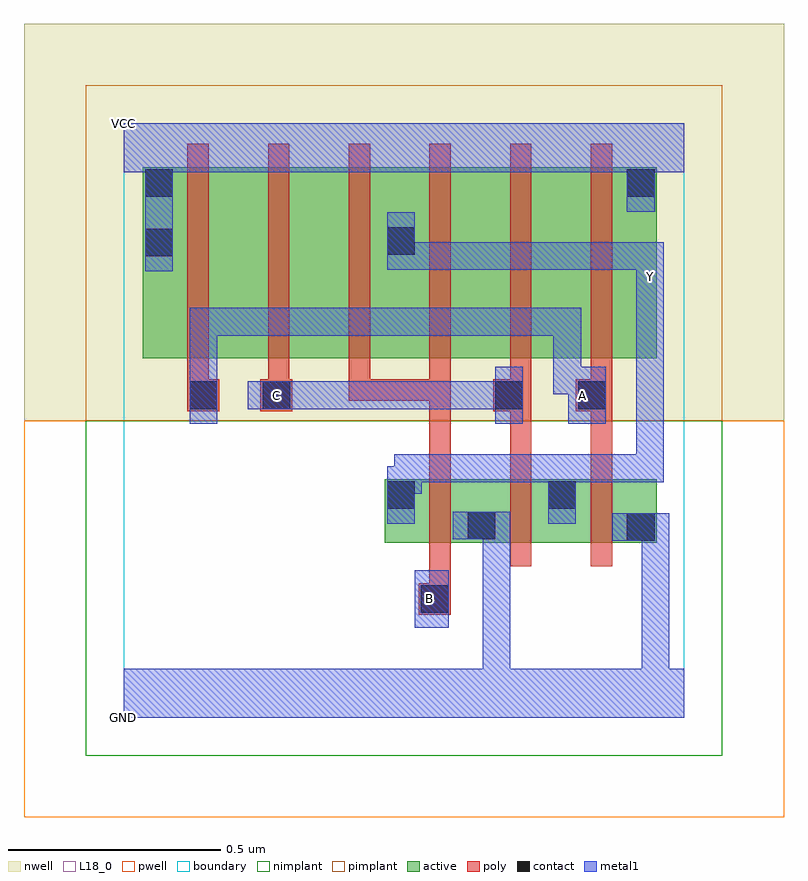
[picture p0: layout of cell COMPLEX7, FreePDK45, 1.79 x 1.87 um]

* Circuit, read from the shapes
.subckt COMPLEX7 A B C GND VCC Y
M1 GND B Y VSUBS nfet w=0.15u l=0.05u
M2 Y C GND VSUBS nfet w=0.15u l=0.05u
M3 GND A Y VSUBS nfet w=0.15u l=0.05u
M4 n1 A VCC n2 pfet w=0.45u l=0.05u
M5 n3 C n1 n2 pfet w=0.45u l=0.05u
M6 Y B n3 n2 pfet w=0.45u l=0.05u
M7 n4 B Y n2 pfet w=0.45u l=0.05u
M8 n5 C n4 n2 pfet w=0.45u l=0.05u
M9 VCC A n5 n2 pfet w=0.45u l=0.05u
.ends

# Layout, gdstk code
import gdstk
lib = gdstk.Library(unit=1e-6, precision=1e-09)
def R(c, l, rs):  # rectangles x0, y0, x1, y1
    for r in rs: c.add(gdstk.rectangle(r[:2], r[2:], *l))
def A(c, l, x, y, w, h, nx, ny, dx, dy):  # array of equal rectangles
    R(c, l, [(x+i*dx, y+j*dy, x+i*dx+w, y+j*dy+h) for i in range(nx) for j in range(ny)])
active = (1, 0)
pwell = (2, 0)
nwell = (3, 0)
nimplant = (4, 0)
pimplant = (5, 0)
poly = (9, 0)
contact = (10, 0)
metal1 = (11, 0)
L18_0 = (18, 0)
boundary = (235, 0)

complex7 = lib.new_cell('COMPLEX7')
R(complex7, active, [(0.615,0.412,0.69,0.562), (0.615,0.412,0.88,0.562), (0.805,0.412,1.07,0.562), (0.995,0.412,1.07,0.562), (0.995,0.412,1.255,0.562), (1.18,0.412,1.255,0.562), (0.805,0.415,0.88,0.547), (0.045,0.847,0.12,1.297), (0.045,0.847,0.27,1.297), (0.27,0.847,0.46,1.297), (0.46,0.847,0.69,1.297), (0.615,0.847,0.84,1.297), (0.615,0.847,0.69,1.2), (0.84,0.847,1.03,1.297), (1.03,0.847,1.255,1.297), (1.18,0.847,1.255,1.297)])
R(complex7, pwell, [(-0.235,-0.235,1.555,0.7)])
R(complex7, nwell, [(-0.235,0.7,1.555,1.635)])
R(complex7, nimplant, [(-0.09,-0.09,1.41,0.7)])
R(complex7, pimplant, [(-0.09,0.7,1.41,1.49)])
A(complex7, poly, 0.72, 0.357, 0.05, 0.26, 3, 1, 0.19, 0)
A(complex7, poly, 0.15, 0.747, 0.05, 0.095, 6, 1, 0.19, 0)
A(complex7, poly, 0.15, 0.792, 0.05, 0.56, 6, 1, 0.19, 0)
R(complex7, poly, [(0.695,0.242,0.77,0.317), (0.72,0.267,0.77,0.407), (0.72,0.567,0.77,0.797), (0.91,0.567,0.96,0.772), (1.1,0.567,1.15,0.772), (0.15,0.722,0.225,0.797), (0.322,0.722,0.397,0.797), (0.87,0.722,0.96,0.797), (1.065,0.722,1.15,0.797), (0.53,0.747,0.58,0.797), (0.53,0.747,0.77,0.797), (0.72,0.747,0.77,0.797), (0.72,0.747,0.77,0.797), (0.72,0.747,0.77,0.797)])
R(complex7, contact, [(0.7,0.247,0.765,0.312), (1.185,0.417,1.25,0.482), (0.81,0.42,0.875,0.485), (0.62,0.492,0.685,0.557), (1,0.492,1.065,0.557), (0.155,0.727,0.22,0.792), (0.327,0.727,0.392,0.792), (0.875,0.727,0.94,0.792), (1.07,0.727,1.135,0.792), (0.05,1.087,0.115,1.152), (0.62,1.09,0.685,1.155), (0.05,1.227,0.115,1.292), (1.185,1.227,1.25,1.292)])
R(complex7, metal1, [(0,0,1.32,0.115), (0.845,0.05,0.91,0.115), (0.845,0.05,0.91,0.115), (0.845,0.05,0.91,0.115), (0.845,0.05,0.91,0.115), (0.845,0.05,0.91,0.115), (0.845,0.05,0.91,0.115), (0.845,0.05,0.91,0.485), (1.22,0.05,1.285,0.115), (1.22,0.05,1.285,0.115), (1.22,0.05,1.285,0.115), (1.22,0.05,1.285,0.115), (1.22,0.05,1.285,0.482), (0.685,0.212,0.765,0.347), (1.15,0.417,1.285,0.482), (1.22,0.417,1.285,0.482), (1.22,0.417,1.285,0.482), (0.775,0.42,0.91,0.485), (0.62,0.457,0.685,0.592), (1,0.457,1.065,0.62), (0.62,0.527,0.702,0.592), (0.637,0.527,0.702,0.62), (0.637,0.555,0.822,0.62), (0.757,0.555,0.822,0.62), (0.757,0.555,0.902,0.62), (0.837,0.555,0.902,0.62), (0.837,0.555,1.065,0.62), (1,0.555,1.272,0.62), (1.207,0.555,1.272,0.62), (1.207,0.555,1.272,0.62), (1.207,0.555,1.272,0.62), (1.207,0.555,1.272,1.037), (0.155,0.692,0.22,0.827), (0.875,0.692,0.94,0.827), (1.047,0.692,1.135,0.827), (0.292,0.727,0.427,0.792), (0.362,0.727,0.427,0.792), (0.362,0.727,0.427,0.792), (0.362,0.727,0.565,0.792), (0.5,0.727,0.565,0.792), (0.5,0.727,0.565,0.792), (0.5,0.727,0.565,0.792), (0.5,0.727,0.702,0.792), (0.637,0.727,0.702,0.792), (0.637,0.727,0.822,0.792), (0.757,0.727,0.822,0.792), (0.757,0.727,0.94,0.792), (0.155,0.762,0.22,0.827), (0.155,0.762,0.22,0.827), (0.155,0.762,0.22,0.965), (1.012,0.762,1.077,0.827), (1.012,0.762,1.112,0.827), (1.012,0.762,1.077,0.965), (0.155,0.9,0.22,0.965), (0.155,0.9,0.427,0.965), (0.362,0.9,0.427,0.965), (0.362,0.9,0.427,0.965), (0.362,0.9,0.427,0.965), (0.362,0.9,0.565,0.965), (0.5,0.9,0.565,0.965), (0.5,0.9,0.565,0.965), (0.5,0.9,0.565,0.965), (0.5,0.9,0.755,0.965), (0.69,0.9,0.755,0.965), (0.69,0.9,0.822,0.965), (0.757,0.9,0.822,0.965), (0.757,0.9,0.975,0.965), (0.91,0.9,0.975,0.965), (0.91,0.9,1.077,0.965), (1.012,0.9,1.077,0.965), (1.207,0.972,1.272,1.107), (1.207,1.042,1.272,1.12), (1.207,1.042,1.272,1.107), (1.207,1.042,1.272,1.107), (0.05,1.052,0.115,1.327), (0.62,1.055,0.685,1.19), (0.62,1.055,0.702,1.12), (0.637,1.055,0.702,1.12), (0.637,1.055,0.837,1.12), (0.772,1.055,0.837,1.12), (0.772,1.055,0.975,1.12), (0.91,1.055,0.975,1.12), (0.91,1.055,0.975,1.12), (0.91,1.055,0.975,1.12), (0.91,1.055,1.215,1.12), (1.15,1.055,1.272,1.12), (1.15,1.055,1.215,1.12), (1.207,1.055,1.272,1.12), (1.185,1.192,1.25,1.327), (0.05,1.262,0.115,1.35), (1.185,1.262,1.25,1.35), (0,1.285,1.32,1.4)])
R(complex7, L18_0, [(0,0,1.32,0.115), (0.845,0.05,0.91,0.115), (0.845,0.05,0.91,0.115), (0.845,0.05,0.91,0.115), (0.845,0.05,0.91,0.115), (0.845,0.05,0.91,0.115), (0.845,0.05,0.91,0.115), (0.845,0.05,0.91,0.485), (1.22,0.05,1.285,0.115), (1.22,0.05,1.285,0.115), (1.22,0.05,1.285,0.115), (1.22,0.05,1.285,0.115), (1.22,0.05,1.285,0.482), (0.685,0.212,0.765,0.347), (0.687,0.247,0.752,0.312), (1.15,0.417,1.285,0.482), (1.22,0.417,1.285,0.482), (1.22,0.417,1.285,0.482), (0.775,0.42,0.91,0.485), (0.62,0.457,0.685,0.592), (1,0.457,1.065,0.62), (0.62,0.527,0.702,0.592), (0.637,0.527,0.702,0.62), (0.637,0.555,0.822,0.62), (0.757,0.555,0.822,0.62), (0.757,0.555,0.902,0.62), (0.837,0.555,0.902,0.62), (0.837,0.555,1.065,0.62), (1,0.555,1.272,0.62), (1.207,0.555,1.272,0.62), (1.207,0.555,1.272,0.62), (1.207,0.555,1.272,0.62), (1.207,0.555,1.272,1.037), (0.155,0.692,0.22,0.827), (0.875,0.692,0.94,0.827), (1.047,0.692,1.135,0.827), (0.292,0.727,0.427,0.792), (0.327,0.727,0.392,0.792), (0.362,0.727,0.427,0.792), (0.362,0.727,0.427,0.792), (0.362,0.727,0.565,0.792), (0.5,0.727,0.565,0.792), (0.5,0.727,0.565,0.792), (0.5,0.727,0.565,0.792), (0.5,0.727,0.702,0.792), (0.637,0.727,0.702,0.792), (0.637,0.727,0.822,0.792), (0.757,0.727,0.822,0.792), (0.757,0.727,0.94,0.792), (1.047,0.727,1.112,0.792), (0.155,0.762,0.22,0.827), (0.155,0.762,0.22,0.827), (0.155,0.762,0.22,0.965), (1.012,0.762,1.077,0.827), (1.012,0.762,1.077,0.965), (1.012,0.762,1.112,0.827), (0.155,0.9,0.22,0.965), (0.155,0.9,0.427,0.965), (0.362,0.9,0.427,0.965), (0.362,0.9,0.427,0.965), (0.362,0.9,0.427,0.965), (0.362,0.9,0.565,0.965), (0.5,0.9,0.565,0.965), (0.5,0.9,0.565,0.965), (0.5,0.9,0.565,0.965), (0.5,0.9,0.755,0.965), (0.69,0.9,0.755,0.965), (0.69,0.9,0.822,0.965), (0.757,0.9,0.822,0.965), (0.757,0.9,0.975,0.965), (0.91,0.9,0.975,0.965), (0.91,0.9,1.077,0.965), (1.012,0.9,1.077,0.965), (1.207,0.972,1.272,1.107), (1.207,1.007,1.272,1.072), (1.207,1.042,1.272,1.107), (1.207,1.042,1.272,1.107), (1.207,1.042,1.272,1.12), (0.05,1.052,0.115,1.327), (0.62,1.055,0.685,1.19), (0.62,1.055,0.702,1.12), (0.637,1.055,0.702,1.12), (0.637,1.055,0.837,1.12), (0.772,1.055,0.837,1.12), (0.772,1.055,0.975,1.12), (0.91,1.055,0.975,1.12), (0.91,1.055,0.975,1.12), (0.91,1.055,0.975,1.12), (0.91,1.055,1.215,1.12), (1.15,1.055,1.215,1.12), (1.15,1.055,1.272,1.12), (1.207,1.055,1.272,1.12), (1.185,1.192,1.25,1.327), (0.05,1.262,0.115,1.35), (1.185,1.262,1.25,1.35), (0,1.285,1.32,1.4)])
R(complex7, boundary, [(0,0,1.32,1.4)])
complex7.add(gdstk.Label('A', (1.08,0.76), layer=11, texttype=0))
complex7.add(gdstk.Label('B', (0.72,0.28), layer=11, texttype=0))
complex7.add(gdstk.Label('C', (0.36,0.76), layer=11, texttype=0))
complex7.add(gdstk.Label('Y', (1.24,1.04), layer=11, texttype=0))
complex7.add(gdstk.Label('VCC', (0,1.4), layer=11, texttype=0))
complex7.add(gdstk.Label('GND', (0,0), layer=11, texttype=0))

lib.write_gds('COMPLEX7.gds')
